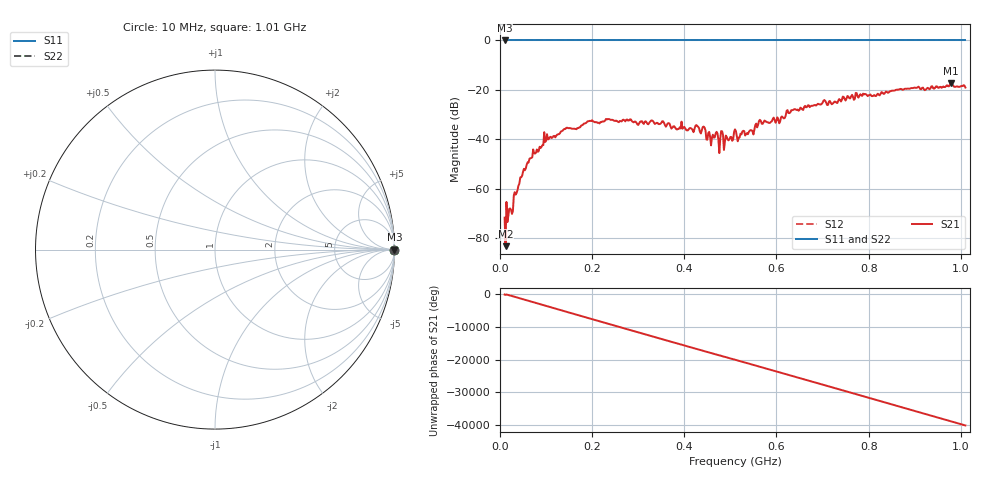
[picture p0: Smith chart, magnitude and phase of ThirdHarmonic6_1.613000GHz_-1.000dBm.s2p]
! 8/16/2025 7:15:17 PM
! C:\ANRITSUVNA\TEMP\TEMP.S2P
! CHANNEL.1
! TR.MEASUREMENT
! RAW.DATA
! RF.CORRECTION.OFF
! AVERAGING.OFF
! IF.BANDWIDTH: 5KHZ
! SWEEPTYPE:  FREQ.SWEEP(Linear)
! Reference Plane Port Info
! PORT:  PORT1  PORT2
! DISTANCE:  0  m  0  m
! TIME:  0  s  0  s
! PHASE.OFFSET:  0  deg.  0  deg.
! LOSS:  0  dB  0  dB
! REF.LOSS:  0  dB  0  dB
! REF.FREQ:  0  Hz  0  Hz
! Power Info
! POWER:  -20  dBm  -20  dBm
! EFF.POWER:  -20  dBm  -20  dBm
! SOURCE.ATTEN:  0  dB  0  dB
! TEST.ATTEN:  0  dB  0  dB
# GHZ S RI R 50.0
! FREQ.GHZ  S11RE  S11IM  S21RE  S21IM  S12RE  S12IM  S22RE  S22IM
!; PortSelection: Port_12
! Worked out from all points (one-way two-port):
!   501 points, 10 MHz to 1.01 GHz, reference 50 ohm
!   highest |S21| = -17.29 dB at 978 MHz (marker M1); lowest = -83.2 dB at 12 MHz (marker M2)
!   lowest |S11| = 0.0 dB at 10 MHz (marker M3)
!   |S11| at or under -10 dB: nowhere
!   |S22| runs from 0.0 to 0.0 dB; largest |S21 - S12| = 1.1
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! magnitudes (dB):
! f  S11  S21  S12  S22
! 10 MHz  0.0  -71.7  0.0  0.0
! 12 MHz  0.0  -83.2  0.0  0.0
! 24 MHz  0.0  -68.6  0.0  0.0
! 48 MHz  0.0  -54.8  0.0  0.0
! 98 MHz  0.0  -41.1  0.0  0.0
! 178 MHz  0.0  -34.3  0.0  0.0
! 234 MHz  0.0  -31.8  0.0  0.0
! 344 MHz  0.0  -33.8  0.0  0.0
! 406 MHz  0.0  -36.4  0.0  0.0
! 428 MHz  0.0  -34.6  0.0  0.0
! 454 MHz  0.0  -37.0  0.0  0.0
! 468 MHz  0.0  -37.6  0.0  0.0
! 490 MHz  0.0  -38.5  0.0  0.0
! 510 MHz  0.0  -36.0  0.0  0.0
! 518 MHz  0.0  -39.3  0.0  0.0
! 564 MHz  0.0  -32.1  0.0  0.0
! 604 MHz  0.0  -32.1  0.0  0.0
! 636 MHz  0.0  -28.1  0.0  0.0
! 678 MHz  0.0  -26.5  0.0  0.0
! 844 MHz  0.0  -21.0  0.0  0.0
! 978 MHz  0.0  -17.3  0.0  0.0
! 1.01 GHz  0.0  -19.0  0.0  0.0
